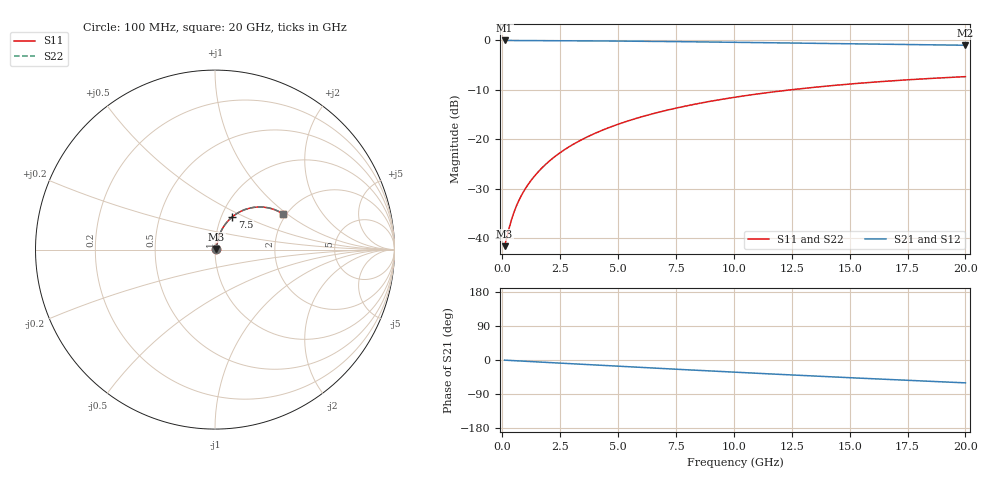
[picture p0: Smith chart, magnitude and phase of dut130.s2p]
! Touchstone file exported from HFSS 2026.1.0
!  File:  C:/ffzhzh/LocalFiles/Ansys_Project_Files/temp_train_TMRDL_130_1782982769_45328.aedt
!  Generated:  05:00:54 PM Jul  2, 2026
!  Design:  TMRDL
!  Project:  temp_train_TMRDL_130_1782982769_45328
! Variables:
!  h_bsmrdl = 2um
!  h_ox = 20um
!  h_rdl = 5um
!  h_sub = 80um
!  h_tmrdl = 2.15um
!  h_tsv = 80um
!  h_via = 3um
!  l_bsmrdl = 300um
!  l_sub = 1378.22um
!  l_tmrdl = 978.22um
!  m_sub = 200um
!  pitch = 39.2um
!  r_tsv = 6um
!  s_tmrdl = 10um
!  w_bsmrdl = 18um
!  w_sub = 500um
!  w_tmrdl = 21.69um
!  x_tsv_center1 = 989.065um
!  x_tsv_center2 = 1307.065um
!  x_tsv_center3 = 2306.975um
!  x_tsv_center4 = 2624.975um
!  x_tsv_center5 = 3624.885um
!  x_tsv_center6 = 3942.885um
# GHz S MA R 50.000000
! Terminal data exported
! Port[1] = TM_RDL1_1_T1
! Port[2] = TM_RDL1_1_T2
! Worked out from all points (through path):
!   200 points, 100 MHz to 20 GHz, reference 50 ohm
!   highest |S21| = -0.07 dB at 100 MHz (marker M1); lowest = -1.0 dB at 20 GHz (marker M2)
!   group delay of S21, straight-line fit = 8.39 ps
!   lowest |S11| = -41.6 dB at 100 MHz (marker M3), VSWR 1.02, Z = 50.8 + j0.338 ohm
!   |S11| at or under -10 dB: start of sweep to 12.52 GHz
!   |S22| runs from -41.6 to -7.4 dB; largest |S21 - S12| = 6.8e-14
!   S11 on the Smith chart (normalised r, x): 100 MHz: 1.02, +0.01; 7.5 GHz: 1.13, +0.43; 20 GHz: 1.92, +0.93
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0.1  0.008325 23.5  0.9924 -0.4  0.9924 -0.4  0.008325 23.5
! Gamma 0 0 0 0
! Port Impedance 50 0 50 0
0.3  0.01278 49.6  0.9918 -1.1  0.9918 -1.1  0.01278 49.6
0.4  0.01546 55.6  0.9915 -1.4  0.9915 -1.4  0.01546 55.6
0.6  0.02092 62.4  0.9908 -2.1  0.9908 -2.1  0.02092 62.4
0.7  0.02364 64.5  0.9905 -2.4  0.9905 -2.4  0.02364 64.6
0.9  0.02907 67.6  0.99 -3.1  0.99 -3.1  0.02907 67.6
1.2  0.03723 70.4  0.9894 -4.0  0.9894 -4.0  0.03723 70.4
1.4  0.04271 71.5  0.989 -4.7  0.989 -4.7  0.04271 71.5
1.7  0.05098 72.6  0.9884 -5.7  0.9884 -5.7  0.05098 72.6
2.2  0.06484 73.3  0.9874 -7.3  0.9874 -7.3  0.06483 73.3
2.8  0.0815 73.1  0.9859 -9.3  0.9859 -9.3  0.0815 73.1
3.5  0.1008 72.2  0.9839 -11.5  0.9839 -11.5  0.1008 72.2
4.2  0.12 70.8  0.9816 -13.8  0.9816 -13.8  0.12 70.8
5  0.1416 68.9  0.9785 -16.4  0.9785 -16.4  0.1416 69.0
5.9  0.1653 66.6  0.9745 -19.3  0.9745 -19.3  0.1653 66.6
6.8  0.1884 64.2  0.97 -22.1  0.97 -22.1  0.1884 64.2
7.5  0.2059 62.2  0.9662 -24.3  0.9662 -24.3  0.2059 62.2
8.7  0.2347 58.8  0.9592 -28.1  0.9592 -28.1  0.2347 58.8
10.1  0.2665 54.8  0.9504 -32.4  0.9504 -32.4  0.2665 54.8
13.4  0.3327 45.4  0.9284 -42.1  0.9284 -42.1  0.3327 45.5
16.7  0.3864 36.3  0.9068 -51.4  0.9068 -51.4  0.3864 36.4
20  0.428 27.7  0.8877 -60.3  0.8877 -60.3  0.4279 27.8
